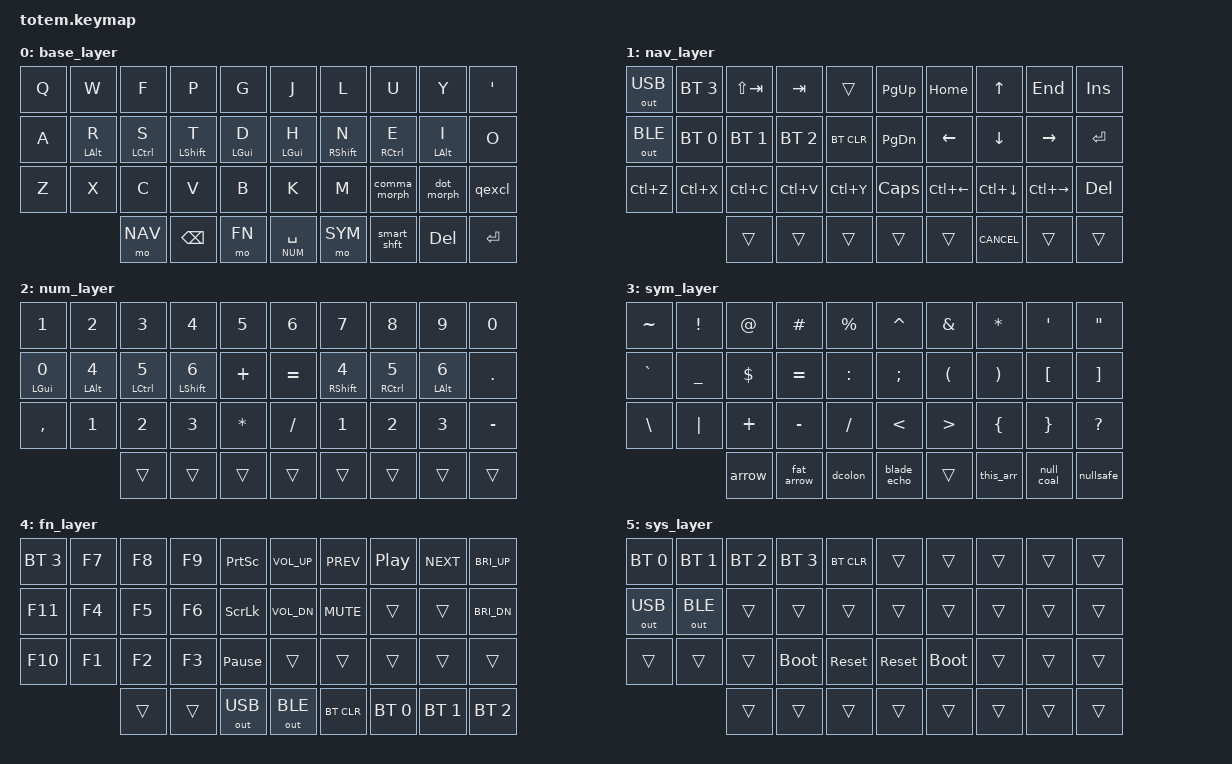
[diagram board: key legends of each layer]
/*
 * TOTEM 38-KEY LAYOUT - LARAVEL OPTIMIZED (ERGONOMIC)
 * Symbols placed by reach difficulty + Laravel frequency
 * 
 * PHYSICAL LAYOUT REFERENCE (Totem 38):
 * ┌─────────────────────────────────────────────────────────────┐
 * │  Pinky   Ring   Middle  Index  Index  |  Index  Index  Middle  Ring   Pinky  │
 * │    0       1       2       3      4    |    5       6       7      8      9   │
 * │   10      11      12      13     14    |   15      16      17     18     19   │  ← HOME ROW (easiest)
 * │  30      20      21      22      23    |   24      25      26      27     31   │  ← BOTTOM ROW OUTERS + ALPHAS
 * │                   32      33     34    |   35      36      37                  │  ← 6-KEY THUMB CLUSTER
 * └─────────────────────────────────────────────────────────────┘
 *
 * REACH DIFFICULTY (1=easiest, 5=hardest):
 *   Home row index/middle (12,13,16,17) = 1
 *   Home row ring (11,18) = 2
 *   Top row index/middle (2,3,6,7) = 2
 *   Inner thumbs (33,34,35,36) = 2
 *   Home row pinky (10,19) = 3
 *   Bottom row index/middle (22,23,26,27) = 3
 *   Top row ring (1,8) = 3
 *   Outer positions (0,4,5,9,20,24,25,29,30,31) = 4
 *   Outer thumbs (32,37) = 5
 */

#include <behaviors.dtsi>
#include <dt-bindings/zmk/keys.h>
#include <dt-bindings/zmk/bt.h>
#include <dt-bindings/zmk/outputs.h>

#define BASE 0
#define NAV  1
#define NUM  2
#define SYM  3
#define FN   4
#define SYS  5

#define KEYS_L 0 1 2 3 4 10 11 12 13 14 20 21 22 23 24
#define KEYS_R 5 6 7 8 9 15 16 17 18 19 25 26 27 28 29
#define BOTTOM_OUTERS 30 31
#define THUMBS 32 33 34 35 36 37
#define BOTTOM_CLUSTER BOTTOM_OUTERS THUMBS

#define QUICK_TAP_MS 175

/ {
    macros {
        // -> (arrow) - #1 most used in Laravel
        arrow: arrow_macro {
            compatible = "zmk,behavior-macro";
            #binding-cells = <0>;
            wait-ms = <10>;
            tap-ms = <10>;
            bindings = <&kp MINUS &kp GT>;
        };

        // => (fat arrow) - #2 arrays and closures
        fat_arrow: fat_arrow_macro {
            compatible = "zmk,behavior-macro";
            #binding-cells = <0>;
            wait-ms = <10>;
            tap-ms = <10>;
            bindings = <&kp EQUAL &kp GT>;
        };

        // :: (double colon) - static calls
        dcolon: double_colon_macro {
            compatible = "zmk,behavior-macro";
            #binding-cells = <0>;
            wait-ms = <10>;
            tap-ms = <10>;
            bindings = <&kp COLON &kp COLON>;
        };

        // {{ }} - Blade echo with cursor inside
        blade_echo: blade_echo_macro {
            compatible = "zmk,behavior-macro";
            #binding-cells = <0>;
            wait-ms = <10>;
            tap-ms = <10>;
            bindings = <&kp LBRC &kp LBRC &kp SPACE &kp SPACE &kp RBRC &kp RBRC &kp LEFT &kp LEFT &kp LEFT>;
        };

        // {!! !!} - Blade unescaped
        blade_raw: blade_raw_macro {
            compatible = "zmk,behavior-macro";
            #binding-cells = <0>;
            wait-ms = <10>;
            tap-ms = <10>;
            bindings = <&kp LBRC &kp EXCL &kp EXCL &kp SPACE &kp SPACE &kp EXCL &kp EXCL &kp RBRC &kp LEFT &kp LEFT &kp LEFT &kp LEFT>;
        };

        // $this->
        this_arr: this_arrow_macro {
            compatible = "zmk,behavior-macro";
            #binding-cells = <0>;
            wait-ms = <10>;
            tap-ms = <10>;
            bindings = <&kp DLLR &kp T &kp H &kp I &kp S &kp MINUS &kp GT>;
        };

        // ??
        null_coal: null_coalescing_macro {
            compatible = "zmk,behavior-macro";
            #binding-cells = <0>;
            wait-ms = <10>;
            tap-ms = <10>;
            bindings = <&kp QMARK &kp QMARK>;
        };

        // ?->
        nullsafe: nullsafe_macro {
            compatible = "zmk,behavior-macro";
            #binding-cells = <0>;
            wait-ms = <10>;
            tap-ms = <10>;
            bindings = <&kp QMARK &kp MINUS &kp GT>;
        };

        // ===
        strict_eq: strict_equal_macro {
            compatible = "zmk,behavior-macro";
            #binding-cells = <0>;
            wait-ms = <10>;
            tap-ms = <10>;
            bindings = <&kp EQUAL &kp EQUAL &kp EQUAL>;
        };

        // !==
        strict_neq: strict_not_equal_macro {
            compatible = "zmk,behavior-macro";
            #binding-cells = <0>;
            wait-ms = <10>;
            tap-ms = <10>;
            bindings = <&kp EXCL &kp EQUAL &kp EQUAL>;
        };

        // //
        line_cmt: line_comment_macro {
            compatible = "zmk,behavior-macro";
            #binding-cells = <0>;
            wait-ms = <10>;
            tap-ms = <10>;
            bindings = <&kp FSLH &kp FSLH &kp SPACE>;
        };
    };

    behaviors {
        hml: homerow_left {
            compatible = "zmk,behavior-hold-tap";
            #binding-cells = <2>;
            flavor = "balanced";
            tapping-term-ms = <280>;
            quick-tap-ms = <QUICK_TAP_MS>;
            require-prior-idle-ms = <150>;
            bindings = <&kp>, <&kp>;
            hold-trigger-key-positions = <KEYS_R BOTTOM_CLUSTER>;
            hold-trigger-on-release;
        };

        hmr: homerow_right {
            compatible = "zmk,behavior-hold-tap";
            #binding-cells = <2>;
            flavor = "balanced";
            tapping-term-ms = <280>;
            quick-tap-ms = <QUICK_TAP_MS>;
            require-prior-idle-ms = <150>;
            bindings = <&kp>, <&kp>;
            hold-trigger-key-positions = <KEYS_L BOTTOM_CLUSTER>;
            hold-trigger-on-release;
        };

        lt_spc: layer_tap_space {
            compatible = "zmk,behavior-hold-tap";
            #binding-cells = <2>;
            flavor = "balanced";
            tapping-term-ms = <200>;
            quick-tap-ms = <QUICK_TAP_MS>;
            bindings = <&mo>, <&kp>;
        };

        smart_shft: smart_shift {
            compatible = "zmk,behavior-mod-morph";
            #binding-cells = <0>;
            bindings = <&sk LSHFT>, <&caps_word>;
            mods = <(MOD_LSFT)>;
        };

        comma_morph: comma_morph {
            compatible = "zmk,behavior-mod-morph";
            #binding-cells = <0>;
            bindings = <&kp COMMA>, <&kp SEMI>;
            mods = <(MOD_LSFT|MOD_RSFT)>;
        };

        dot_morph: dot_morph {
            compatible = "zmk,behavior-mod-morph";
            #binding-cells = <0>;
            bindings = <&kp DOT>, <&kp COLON>;
            mods = <(MOD_LSFT|MOD_RSFT)>;
        };

        qexcl: question_exclamation {
            compatible = "zmk,behavior-mod-morph";
            #binding-cells = <0>;
            bindings = <&kp QMARK>, <&kp EXCL>;
            mods = <(MOD_LSFT|MOD_RSFT)>;
        };
    };

    combos {
        compatible = "zmk,combos";

        // =========================================================
        // TIER 1: EASIEST REACH - Home row adjacent (index+middle)
        // These are the MOST comfortable combos on the keyboard
        // =========================================================

        // S+T (12+13) → -> ARROW - Most used Laravel operator
        combo_arrow {
            key-positions = <12 13>;
            bindings = <&arrow>;
            timeout-ms = <35>;
        };

        // N+E (16+17) → => FAT ARROW - Second most used
        combo_fat_arrow {
            key-positions = <16 17>;
            bindings = <&fat_arrow>;
            timeout-ms = <35>;
        };

        // R+S (11+12) → TAB
        combo_tab {
            key-positions = <11 12>;
            bindings = <&kp TAB>;
            timeout-ms = <50>;
        };

        // E+I (17+18) → ENTER
        combo_enter {
            key-positions = <17 18>;
            bindings = <&kp RET>;
            timeout-ms = <50>;
        };

        // =========================================================
        // TIER 2: EASY REACH - Top row index+middle, home row stretch
        // =========================================================

        // F+P (2+3) → :: DOUBLE COLON - Static methods
        combo_dcolon {
            key-positions = <2 3>;
            bindings = <&dcolon>;
            timeout-ms = <40>;
        };

        // L+U (6+7) → ?? NULL COALESCING
        combo_null_coal {
            key-positions = <6 7>;
            bindings = <&null_coal>;
            timeout-ms = <40>;
        };

        // T+D (13+14) → $this-> 
        combo_this {
            key-positions = <13 14>;
            bindings = <&this_arr>;
            timeout-ms = <45>;
        };

        // H+N (15+16) → ( ) - Quick parens
        combo_lpar {
            key-positions = <15 16>;
            bindings = <&kp LPAR>;
            timeout-ms = <50>;
        };

        combo_rpar {
            key-positions = <18 19>;
            bindings = <&kp RPAR>;
            timeout-ms = <50>;
        };

        // W+F (1+2) → ESC
        combo_esc {
            key-positions = <1 2>;
            bindings = <&kp ESC>;
            timeout-ms = <50>;
        };

        // U+Y (7+8) → === STRICT EQUAL
        combo_strict_eq {
            key-positions = <7 8>;
            bindings = <&strict_eq>;
            timeout-ms = <45>;
        };

        // =========================================================
        // TIER 3: MODERATE REACH - Bottom row, ring fingers
        // =========================================================

        // C+V (22+23) → {{ }} BLADE ECHO
        combo_blade_echo {
            key-positions = <22 23>;
            bindings = <&blade_echo>;
            timeout-ms = <50>;
        };

        // M+, (26+27) → { LEFT BRACE
        combo_lbrc {
            key-positions = <26 27>;
            bindings = <&kp LBRC>;
            timeout-ms = <50>;
        };

        // ,+. (27+28) → } RIGHT BRACE
        combo_rbrc {
            key-positions = <27 28>;
            bindings = <&kp RBRC>;
            timeout-ms = <50>;
        };

        // X+C (21+22) → !== STRICT NOT EQUAL
        combo_strict_neq {
            key-positions = <21 22>;
            bindings = <&strict_neq>;
            timeout-ms = <50>;
        };

        // =========================================================
        // TIER 4: HARDER REACH - Outer columns, stretches
        // =========================================================

        // V+B (23+24) → {!! !!} BLADE RAW
        combo_blade_raw {
            key-positions = <23 24>;
            bindings = <&blade_raw>;
            timeout-ms = <50>;
        };

        // Y+' (8+9) → ?-> NULLSAFE
        combo_nullsafe {
            key-positions = <8 9>;
            bindings = <&nullsafe>;
            timeout-ms = <50>;
        };

        // K+M (25+26) → // LINE COMMENT
        combo_line_comment {
            key-positions = <25 26>;
            bindings = <&line_cmt>;
            timeout-ms = <50>;
        };

        // P+G (3+4) → [ LEFT BRACKET
        combo_lbkt {
            key-positions = <3 4>;
            bindings = <&kp LBKT>;
            timeout-ms = <50>;
        };

        // J+L (5+6) → ] RIGHT BRACKET
        combo_rbkt {
            key-positions = <5 6>;
            bindings = <&kp RBKT>;
            timeout-ms = <50>;
        };

        // =========================================================
        // SHORTCUTS - Various layers
        // =========================================================

        // S+V (12+23) → Ctrl+S SAVE
        combo_save {
            key-positions = <12 23>;
            bindings = <&kp LC(S)>;
            timeout-ms = <50>;
        };

        // W+F+P (1+2+3) → Ctrl+F FIND
        combo_find {
            key-positions = <1 2 3>;
            bindings = <&kp LC(F)>;
            timeout-ms = <50>;
        };
    };

    keymap {
        compatible = "zmk,keymap";

        // =========================================================
        // BASE LAYER - Colemak-DH (UNCHANGED)
        // =========================================================
        base_layer {
            bindings = <
        // Row 1: 10 keys (0-9)
             &kp Q         &kp W            &kp F         &kp P         &kp G              &kp J                 &kp L         &kp U         &kp Y             &kp SQT
        // Row 2: 10 keys (10-19) - Homerow mods UNCHANGED
             &kp A         &hml LALT R      &hml LCTRL S  &hml LSHFT T  &hml LGUI D        &hmr LGUI H           &hmr RSHFT N  &hmr RCTRL E  &hmr LALT I       &kp O
        // Row 3: 10 alpha keys (20-29)
             &kp Z         &kp X            &kp C         &kp V         &kp B              &kp K                 &kp M         &comma_morph  &dot_morph        &qexcl
        // Bottom row: 2 outer keys (30/31) + 6-key thumb cluster (32-37)
                                            &mo NAV       &kp BSPC      &mo FN             &lt_spc NUM SPACE     &mo SYM       &smart_shft   &kp DEL           &kp RET
            >;
        };

        // =========================================================
        // NAVIGATION LAYER
        // Legacy Bluetooth shortcuts:
        // hold NAV, then use left-hand alpha keys.
        // Primary Bluetooth management lives on the real 6-key thumb cluster in FN.
        // =========================================================
        nav_layer {
            bindings = <
             &out OUT_USB  &bt BT_SEL 3     &kp LS(TAB)   &kp TAB       &trans             &kp PG_UP             &kp HOME      &kp UP        &kp END           &kp INS
             &out OUT_BLE  &bt BT_SEL 0     &bt BT_SEL 1  &bt BT_SEL 2  &bt BT_CLR         &kp PG_DN             &kp LEFT      &kp DOWN      &kp RIGHT         &kp RET
             &kp LC(Z)     &kp LC(X)        &kp LC(C)     &kp LC(V)     &kp LC(Y)          &kp CAPS              &kp LC(LEFT)  &kp LC(DOWN)  &kp LC(RIGHT)     &kp DEL
                                            &trans        &trans        &trans             &trans                &trans        &kp K_CANCEL  &trans            &trans
            >;
        };

        // =========================================================
        // NUMBER LAYER
        // =========================================================
        num_layer {
            bindings = <
             &kp N1        &kp N2           &kp N3        &kp N4        &kp N5             &kp N6                &kp N7        &kp N8        &kp N9            &kp N0
             &hml LGUI N0  &hml LALT N4     &hml LCTRL N5 &hml LSHFT N6 &kp PLUS           &kp EQUAL             &hmr RSHFT N4 &hmr RCTRL N5 &hmr LALT N6      &kp DOT
             &kp COMMA     &kp N1           &kp N2        &kp N3        &kp STAR           &kp FSLH              &kp N1        &kp N2        &kp N3            &kp MINUS
                                            &trans        &trans        &trans             &trans                &trans        &trans        &trans            &trans
            >;
        };

        // =========================================================
        // SYMBOL LAYER - LARAVEL OPTIMIZED BY REACH
        // 
        // REACH MAP (hold SYM with right thumb):
        // ┌────────────────────────────────────────────────────────┐
        // │ Pos:   0    1    2    3    4  │  5    6    7    8    9 │
        // │ Sym:   ~    !    @    #    %  │  ^    &    *    '    " │
        // │ Reach: 4    3    2    2    4  │  4    2    2    3    4 │
        // ├────────────────────────────────────────────────────────┤
        // │ Pos:  10   11   12   13   14  │ 15   16   17   18   19 │
        // │ Sym:   `    _    $    =    :  │  ;    (    )    [    ] │  ← HOME ROW
        // │ Reach: 3    2    1    1    2  │  2    1    1    2    3 │     BEST!
        // ├────────────────────────────────────────────────────────┤
        // │ Pos:  20   21   22   23   24  │ 25   26   27   28   29 │
        // │ Sym:   \    |    +    -    /  │  <    >    {    }    ? │
        // │ Reach: 4    3    3    3    4  │  4    3    3    3    4 │
        // ├────────────────────────────────────────────────────────┤
        // │ Thumb: ->   =>   ::           │ {{}} $this-> ??  ?->   │
        // └────────────────────────────────────────────────────────┘
        // =========================================================
        sym_layer {
            bindings = <
        // Row 1: Less frequent symbols on outer, @ # on easy reach
             &kp TILDE     &kp EXCL         &kp AT        &kp HASH      &kp PRCNT          &kp CARET             &kp AMPS      &kp STAR      &kp SQT           &kp DQT
        // Row 2: HOME ROW - MOST USED LARAVEL SYMBOLS HERE
        //        `=backtick  _=snake   $=VARS   ==assign  :=types    ;=stmt   (=call   )=call   [=arr    ]=arr
             &kp GRAVE     &kp UNDER        &kp DLLR      &kp EQUAL     &kp COLON          &kp SEMI              &kp LPAR      &kp RPAR      &kp LBKT          &kp RBKT
        // Row 3: Operators and slashes
             &kp BSLH      &kp PIPE         &kp PLUS      &kp MINUS     &kp FSLH           &kp LT                &kp GT        &kp LBRC      &kp RBRC          &kp QMARK
        // Thumbs: MACROS - Most used Laravel patterns
                                            &arrow        &fat_arrow    &dcolon            &blade_echo           &trans        &this_arr     &null_coal        &nullsafe
            >;
        };

        // =========================================================
        // FUNCTION LAYER
        // Primary Bluetooth management for Totem 38:
        // Hold FN, then use the 6-key thumb cluster for USB/BLE, clear, and BT 0/1/2.
        // BT slot 3 stays on the top row as a fallback.
        // =========================================================
        fn_layer {
            bindings = <
             &bt BT_SEL 3  &kp F7          &kp F8        &kp F9        &kp PRINTSCREEN    &kp C_VOL_UP          &kp C_PREV    &kp C_PP      &kp C_NEXT        &kp C_BRI_UP
             &kp F11       &kp F4           &kp F5        &kp F6        &kp SCROLLLOCK     &kp C_VOL_DN          &kp C_MUTE    &trans        &trans            &kp C_BRI_DN
             &kp F10       &kp F1           &kp F2        &kp F3        &kp PAUSE_BREAK    &trans                &trans        &trans        &trans            &trans
                                            &trans        &trans        &out OUT_USB       &out OUT_BLE          &bt BT_CLR    &bt BT_SEL 0  &bt BT_SEL 1      &bt BT_SEL 2
            >;
        };

        // =========================================================
        // SYSTEM LAYER
        // =========================================================
        sys_layer {
            bindings = <
             &bt BT_SEL 0  &bt BT_SEL 1     &bt BT_SEL 2  &bt BT_SEL 3  &bt BT_CLR         &trans                &trans        &trans        &trans            &trans
             &out OUT_USB  &out OUT_BLE     &trans        &trans        &trans             &trans                &trans        &trans        &trans            &trans
             &trans        &trans           &trans        &bootloader   &sys_reset         &sys_reset            &bootloader   &trans        &trans            &trans
                                            &trans        &trans        &trans             &trans                &trans        &trans        &trans            &trans
            >;
        };
    };

    conditional_layers {
        compatible = "zmk,conditional-layers";
        tri_layer {
            if-layers = <FN NUM>;
            then-layer = <SYS>;
        };
    };
};
